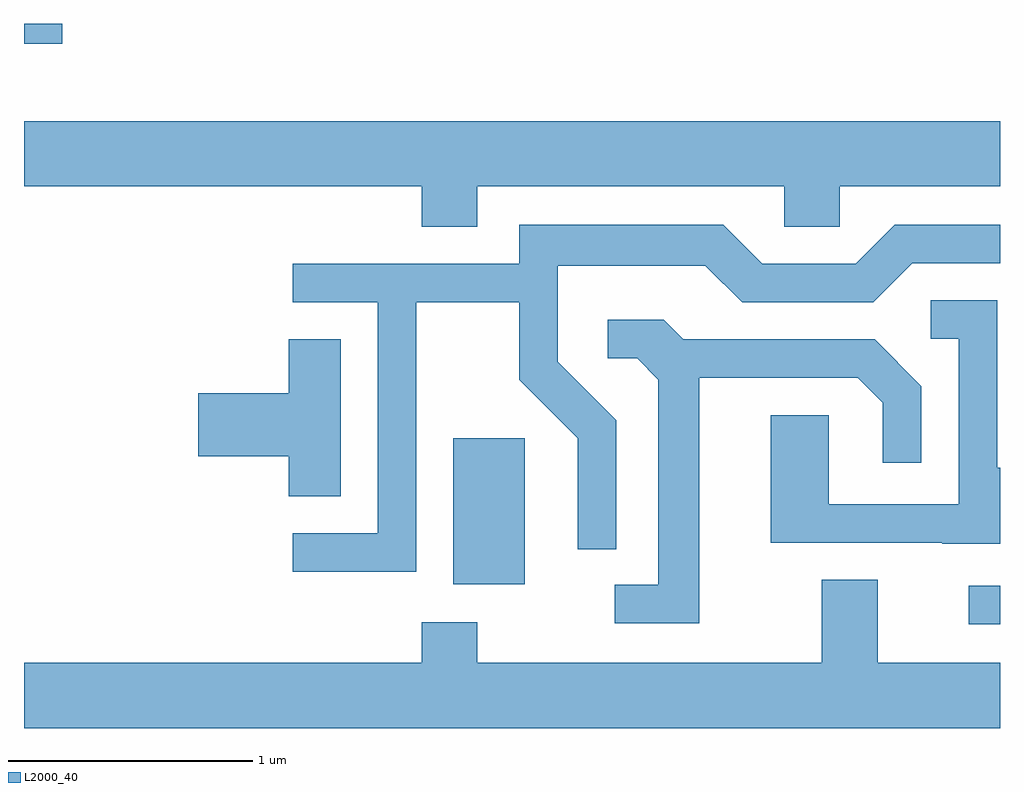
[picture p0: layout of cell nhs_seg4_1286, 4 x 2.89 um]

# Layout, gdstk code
import gdstk
lib = gdstk.Library(unit=1e-6, precision=1e-09)
def R(c, l, rs):  # rectangles x0, y0, x1, y1
    for r in rs: c.add(gdstk.rectangle(r[:2], r[2:], *l))
def P(c, l, *ps):  # polygons
    for p in ps: c.add(gdstk.Polygon(p, *l))
L2000_40 = (2000, 40)

nhs_seg4_1286 = lib.new_cell('nhs_seg4_1286')
R(nhs_seg4_1286, L2000_40, [(225.483,1379.521,225.611,1379.679), (223.371,1379.686,223.664,1380.284), (221.611,1381.901,221.768,1381.982)])
P(nhs_seg4_1286, L2000_40, [(223.469,1381.316),(224.726,1381.316),(224.726,1381.151),(224.954,1381.151),(224.954,1381.316),(225.611,1381.316),(225.611,1381.584),(221.611,1381.584),(221.611,1381.316),(223.241,1381.316),(223.241,1381.151),(223.469,1381.151)],
  [(223.219,1380.841),(223.641,1380.841),(223.641,1380.524),(223.881,1380.284),(223.881,1379.828),(224.039,1379.828),(224.039,1380.357),(223.799,1380.597),(223.799,1380.991),(224.404,1380.991),(224.554,1380.841),(225.092,1380.841),(225.252,1381.001),(225.611,1381.001),(225.611,1381.159),(225.179,1381.159),(225.019,1380.999),(224.637,1380.999),(224.477,1381.159),(223.641,1381.159),(223.641,1380.999),(222.713,1380.999),(222.713,1380.841),(223.061,1380.841),(223.061,1379.894),(222.713,1379.894),(222.713,1379.736),(223.219,1379.736)],
  [(225.611,1380.164),(225.599,1380.164),(225.599,1380.849),(225.328,1380.849),(225.328,1380.691),(225.441,1380.691),(225.441,1380.014),(224.909,1380.014),(224.909,1380.379),(224.671,1380.379),(224.671,1379.856),(225.375,1379.856),(225.375,1379.851),(225.611,1379.851)],
  [(224.379,1380.531),(225.029,1380.531),(225.131,1380.429),(225.131,1380.183),(225.289,1380.183),(225.289,1380.497),(225.097,1380.689),(224.312,1380.689),(224.232,1380.769),(224.003,1380.769),(224.003,1380.611),(224.124,1380.611),(224.211,1380.524),(224.211,1379.684),(224.033,1379.684),(224.033,1379.526),(224.379,1379.526)],
  [(222.909,1380.689),(222.696,1380.689),(222.696,1380.469),(222.326,1380.469),(222.326,1380.211),(222.696,1380.211),(222.696,1380.046),(222.909,1380.046)],
  [(225.611,1379.364),(225.109,1379.364),(225.109,1379.704),(224.881,1379.704),(224.881,1379.364),(223.469,1379.364),(223.469,1379.529),(223.241,1379.529),(223.241,1379.364),(221.611,1379.364),(221.611,1379.096),(225.611,1379.096)])

lib.write_gds('nhs_seg4_1286.gds')
